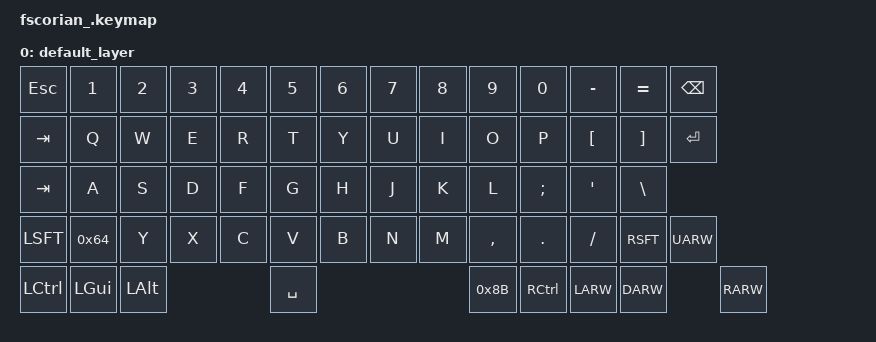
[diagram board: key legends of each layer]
#include <behaviors.dtsi>
#include <dt-bindings/zmk/keys.h>
//#include <dt-bindings/zmk/bt.h>


#define DEFAULT 0
#define NAV 1

/ {
    keymap {
        compatible = "zmk,keymap";

        default_layer {
            // ESC | 1 | 2 | 3 | 4 | 5 | 6 | 7 | 8 | 9 | 0 | ß | ´ | BACKSPACE |
            // TAB | q | w | e | r | t | z | u | i | o | p | ü | + | RETURN | 
            // CAPSLOCK | a | s | d | f | g | h | j | k | l | ö | ä | # | 
            // LSHIFT  | < | y | x | c | v | b | n | m | , | . | - | RSHIFT | UP
            // LCTRL | LGUI | LALT | SPACE | RGUI | RCTRL | LEFT | DOWN | RIGHT


            bindings = <
            &kp ESC    &kp NUM_1      &kp NUM_2     &kp NUM_3     &kp NUM_4  &kp NUM_5   &kp NUM_6  &kp NUM_7  &kp NUM_8  &kp NUM_9  &kp NUM_0  &kp MINUS   &kp EQL     &kp BKSP
			&kp TAB    &kp Q          &kp W         &kp E         &kp R      &kp T       &kp Y      &kp U      &kp I      &kp O      &kp P      &kp LBKT    &kp RBKT    &kp RET
			&kp TAB   &kp A          &kp S         &kp D         &kp F      &kp G       &kp H      &kp J      &kp K      &kp L      &kp SCLN   &kp QUOT    &kp BSLH
			&kp LSFT   &kp 0x64       &kp Y         &kp X         &kp C      &kp V       &kp B      &kp N      &kp M      &kp CMMA   &kp DOT    &kp FSLH    &kp RSFT    &kp UARW
			&kp LCTL   &kp LGUI       &kp LALT                              &kp SPC                                            &kp 0x8B   &kp RCTL    &kp LARW    &kp DARW    &kp RARW
            >;

        };


    };
};
